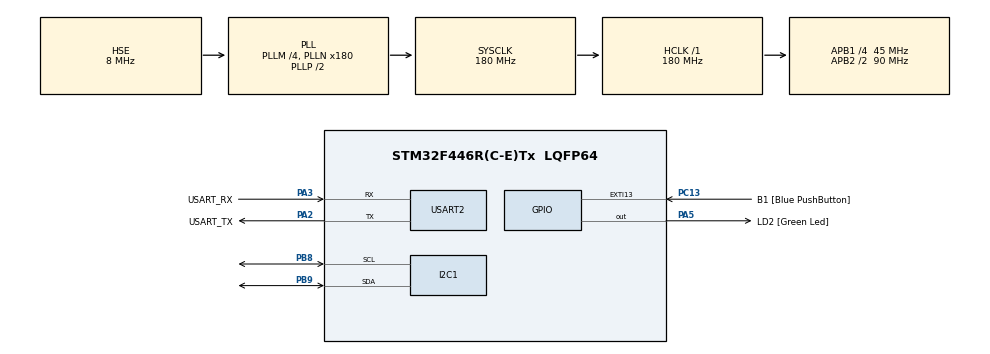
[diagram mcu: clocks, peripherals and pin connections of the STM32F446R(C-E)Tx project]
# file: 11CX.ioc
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Mcu.Family=STM32F4
Mcu.Name=STM32F446R(C-E)Tx
Mcu.Package=LQFP64
NVIC.PriorityGroup=NVIC_PRIORITYGROUP_0
NVIC.USART2_IRQn=true\:0\:0\:false\:false\:true\:true\:true\:true
PA13.GPIO_Label=TMS
PA13.Signal=SYS_JTMS-SWDIO
PA14.GPIO_Label=TCK
PA14.Signal=SYS_JTCK-SWCLK
PA2.GPIO_Label=USART_TX
PA2.Mode=Asynchronous
PA2.Signal=USART2_TX
PA3.GPIO_Label=USART_RX
PA3.Mode=Asynchronous
PA3.Signal=USART2_RX
PA5.GPIO_Label=LD2 [Green Led]
PA5.Signal=GPIO_Output
PB3.GPIO_Label=SWO
PB3.Signal=SYS_JTDO-SWO
PB8.Mode=I2C
PB8.Signal=I2C1_SCL
PB9.Mode=I2C
PB9.Signal=I2C1_SDA
PC13.GPIO_Label=B1 [Blue PushButton]
PC13.GPIO_ModeDefaultEXTI=GPIO_MODE_IT_FALLING
PC13.Signal=GPXTI13
PC14-OSC32_IN.Signal=RCC_OSC32_IN
PC15-OSC32_OUT.Signal=RCC_OSC32_OUT
PH0-OSC_IN.Mode=HSE-External-Clock-Source
PH0-OSC_IN.Signal=RCC_OSC_IN
PH1-OSC_OUT.Mode=HSE-External-Clock-Source
PH1-OSC_OUT.Signal=RCC_OSC_OUT
ProjectManager.HeapSize=0x200
ProjectManager.StackSize=0x400
ProjectManager.TargetToolchain=STM32CubeIDE
RCC.AHBFreq_Value=180000000
RCC.APB1CLKDivider=RCC_HCLK_DIV4
RCC.APB1Freq_Value=45000000
RCC.APB1TimFreq_Value=90000000
RCC.APB2CLKDivider=RCC_HCLK_DIV2
RCC.APB2Freq_Value=90000000
RCC.APB2TimFreq_Value=180000000
RCC.CortexFreq_Value=180000000
RCC.FLatency-AdvancedSettings=FLASH_LATENCY_5
RCC.HCLKFreq_Value=180000000
RCC.HSE_VALUE=8000000
RCC.HSI_VALUE=16000000
RCC.LSE_VALUE=32768
RCC.PLLM=4
RCC.PLLN=180
RCC.PLLSourceVirtual=RCC_PLLSOURCE_HSE
RCC.SYSCLKFreq_VALUE=180000000
RCC.SYSCLKSource=RCC_SYSCLKSOURCE_PLLCLK
RCC.USBFreq_Value=180000000
RCC.VCOOutputFreq_Value=360000000
USART2.VirtualMode=VM_ASYNC
board=NUCLEO-F446RE

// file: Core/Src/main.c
/* USER CODE BEGIN Header */
/**
  ******************************************************************************
  * @file           : main.c
  * @brief          : Main program body
  ******************************************************************************
  * @attention
  *
  * Copyright (c) 2025 STMicroelectronics.
  * All rights reserved.
  *
  * This software is licensed under terms that can be found in the LICENSE file
  * in the root directory of this software component.
  * If no LICENSE file comes with this software, it is provided AS-IS.
  *
  ******************************************************************************
  */
/* USER CODE END Header */
#include "main.h"

/* USER CODE BEGIN Includes */
#include <stdio.h>
#include <string.h>

/* USER CODE END Includes */

/* USER CODE BEGIN PD */

#define MPU6050_I2C_ADDRESS		0xD0

#define MPU6050_SMPLRT_DIV		0x19
#define MPU6050_ACCEL_CONFIG	0x1C
#define MPU6050_ACCEL_OUT		0x3B		/* 0x3B:0x3C=X, 0x3D:0x3E=Y, 0x3F:0x40=Z */
#define MPU6050_PWR_MGMT_1		0x6B

/* USER CODE END PD */

I2C_HandleTypeDef hi2c1;

UART_HandleTypeDef huart2;

/* USER CODE BEGIN PV */

int16_t  iAx, iAy, iAz;

float fAx, fAy, fAz;

/* USER CODE END PV */

void SystemClock_Config(void);
static void MX_GPIO_Init(void);
static void MX_I2C1_Init(void);
static void MX_USART2_UART_Init(void);
/* USER CODE BEGIN PFP */

void MPU6050Init(void);
void MPU6050ReadAccel(void);

/* USER CODE END PFP */

int main(void)
{

  /* MCU Configuration--------------------------------------------------------*/

  /* Reset of all peripherals, Initializes the Flash interface and the Systick. */
  HAL_Init();

  /* Configure the system clock */
  SystemClock_Config();

  /* Initialize all configured peripherals */
  MX_GPIO_Init();
  MX_I2C1_Init();
  MX_USART2_UART_Init();
  /* USER CODE BEGIN 2 */

  MPU6050Init();
  char chTxData[100];

  /* USER CODE END 2 */

  /* Infinite loop */
  /* USER CODE BEGIN WHILE */
  while (1)
  {

	  MPU6050ReadAccel();

	  fAx = (float)iAx;
	  fAx /= 16384;
	  fAy = (float)iAy;
	  fAy /= 16384;
	  fAz = (float)iAz;
	  fAz /= 16384;
	  //sprintf(chTxData,"Ax=%d, Ay=%d, Az=%d\r\n",iAx, iAy, iAz);
	  //sprintf(chTxData,"Ax=%0.2f, Ay=%0.2f, Az=%0.2f\r\n",fAx, fAy, fAz);
	  sprintf(chTxData,"%0.2f,%0.2f,%0.2f\r\n",fAx, fAy, fAz);
	  HAL_UART_Transmit(&huart2, (uint8_t*)chTxData, strlen(chTxData), HAL_MAX_DELAY);
	  HAL_Delay(2);

	  /* USER CODE END WHILE */

  }
}

void SystemClock_Config(void)
{
  RCC_OscInitTypeDef RCC_OscInitStruct = {0};
  RCC_ClkInitTypeDef RCC_ClkInitStruct = {0};

  /** Configure the main internal regulator output voltage
  */
  __HAL_RCC_PWR_CLK_ENABLE();
  __HAL_PWR_VOLTAGESCALING_CONFIG(PWR_REGULATOR_VOLTAGE_SCALE1);

  /** Initializes the RCC Oscillators according to the specified parameters
  * in the RCC_OscInitTypeDef structure.
  */
  RCC_OscInitStruct.OscillatorType = RCC_OSCILLATORTYPE_HSE;
  RCC_OscInitStruct.HSEState = RCC_HSE_BYPASS;
  RCC_OscInitStruct.PLL.PLLState = RCC_PLL_ON;
  RCC_OscInitStruct.PLL.PLLSource = RCC_PLLSOURCE_HSE;
  RCC_OscInitStruct.PLL.PLLM = 4;
  RCC_OscInitStruct.PLL.PLLN = 180;
  RCC_OscInitStruct.PLL.PLLP = RCC_PLLP_DIV2;
  RCC_OscInitStruct.PLL.PLLQ = 2;
  RCC_OscInitStruct.PLL.PLLR = 2;
  if (HAL_RCC_OscConfig(&RCC_OscInitStruct) != HAL_OK)
  {
    Error_Handler();
  }

  /** Activate the Over-Drive mode
  */
  if (HAL_PWREx_EnableOverDrive() != HAL_OK)
  {
    Error_Handler();
  }

  /** Initializes the CPU, AHB and APB buses clocks
  */
  RCC_ClkInitStruct.ClockType = RCC_CLOCKTYPE_HCLK|RCC_CLOCKTYPE_SYSCLK
                              |RCC_CLOCKTYPE_PCLK1|RCC_CLOCKTYPE_PCLK2;
  RCC_ClkInitStruct.SYSCLKSource = RCC_SYSCLKSOURCE_PLLCLK;
  RCC_ClkInitStruct.AHBCLKDivider = RCC_SYSCLK_DIV1;
  RCC_ClkInitStruct.APB1CLKDivider = RCC_HCLK_DIV4;
  RCC_ClkInitStruct.APB2CLKDivider = RCC_HCLK_DIV2;

  if (HAL_RCC_ClockConfig(&RCC_ClkInitStruct, FLASH_LATENCY_5) != HAL_OK)
  {
    Error_Handler();
  }
}

static void MX_I2C1_Init(void)
{

  hi2c1.Instance = I2C1;
  hi2c1.Init.ClockSpeed = 100000;
  hi2c1.Init.DutyCycle = I2C_DUTYCYCLE_2;
  hi2c1.Init.OwnAddress1 = 0;
  hi2c1.Init.AddressingMode = I2C_ADDRESSINGMODE_7BIT;
  hi2c1.Init.DualAddressMode = I2C_DUALADDRESS_DISABLE;
  hi2c1.Init.OwnAddress2 = 0;
  hi2c1.Init.GeneralCallMode = I2C_GENERALCALL_DISABLE;
  hi2c1.Init.NoStretchMode = I2C_NOSTRETCH_DISABLE;
  if (HAL_I2C_Init(&hi2c1) != HAL_OK)
  {
    Error_Handler();
  }

}

static void MX_USART2_UART_Init(void)
{

  huart2.Instance = USART2;
  huart2.Init.BaudRate = 115200;
  huart2.Init.WordLength = UART_WORDLENGTH_8B;
  huart2.Init.StopBits = UART_STOPBITS_1;
  huart2.Init.Parity = UART_PARITY_NONE;
  huart2.Init.Mode = UART_MODE_TX_RX;
  huart2.Init.HwFlowCtl = UART_HWCONTROL_NONE;
  huart2.Init.OverSampling = UART_OVERSAMPLING_16;
  if (HAL_UART_Init(&huart2) != HAL_OK)
  {
    Error_Handler();
  }

}

static void MX_GPIO_Init(void)
{
  GPIO_InitTypeDef GPIO_InitStruct = {0};

  /* GPIO Ports Clock Enable */
  __HAL_RCC_GPIOC_CLK_ENABLE();
  __HAL_RCC_GPIOH_CLK_ENABLE();
  __HAL_RCC_GPIOA_CLK_ENABLE();
  __HAL_RCC_GPIOB_CLK_ENABLE();

  /*Configure GPIO pin Output Level */
  HAL_GPIO_WritePin(LD2_GPIO_Port, LD2_Pin, GPIO_PIN_RESET);

  /*Configure GPIO pin : B1_Pin */
  GPIO_InitStruct.Pin = B1_Pin;
  GPIO_InitStruct.Mode = GPIO_MODE_IT_FALLING;
  GPIO_InitStruct.Pull = GPIO_NOPULL;
  HAL_GPIO_Init(B1_GPIO_Port, &GPIO_InitStruct);

  /*Configure GPIO pin : LD2_Pin */
  GPIO_InitStruct.Pin = LD2_Pin;
  GPIO_InitStruct.Mode = GPIO_MODE_OUTPUT_PP;
  GPIO_InitStruct.Pull = GPIO_NOPULL;
  GPIO_InitStruct.Speed = GPIO_SPEED_FREQ_LOW;
  HAL_GPIO_Init(LD2_GPIO_Port, &GPIO_InitStruct);

}

/* USER CODE BEGIN 4 */

//#define MPU6050_I2C_ADDRESS		0xD0
//
//#define MPU6050_SMPLRT_DIV		0x19
//#define MPU6050_ACCEL_CONFIG		0x1C
//#define MPU6050_ACCEL_OUT			0x3B		/* 0x3B:0x3C=X, 0x3D:0x3E=Y, 0x3F:0x40=Z */
//#define MPU6050_PWR_MGMT_1		0x6B

void MPU6050Init(void)
{
	uint8_t ui8Data;

	// Disable SLEEP
	ui8Data = 0;
	HAL_I2C_Mem_Write(&hi2c1, MPU6050_I2C_ADDRESS, MPU6050_PWR_MGMT_1, 1, &ui8Data, 1, 1000);

	// set the Sampling Rate (1KHZ)
	ui8Data = 7;
	HAL_I2C_Mem_Write(&hi2c1, MPU6050_I2C_ADDRESS, MPU6050_SMPLRT_DIV, 1, &ui8Data, 1, 1000);

	// set the Acceleration scale
	ui8Data = 0; // +/- 2g
	HAL_I2C_Mem_Write(&hi2c1, MPU6050_I2C_ADDRESS, MPU6050_ACCEL_CONFIG, 1, &ui8Data, 1, 1000);

	return;
}

void MPU6050ReadAccel(void)
{
	uint8_t ui8Data[6];

	// Read Acceleration
	HAL_I2C_Mem_Read(&hi2c1, MPU6050_I2C_ADDRESS, MPU6050_ACCEL_OUT, 1, ui8Data, 6, 1000);

	iAx = (int16_t)((ui8Data[0] << 8) | (ui8Data[1]));	//X
	iAy = (int16_t)((ui8Data[2] << 8) | (ui8Data[3]));	//Y
	iAz = (int16_t)((ui8Data[4] << 8) | (ui8Data[5]));	//Z

	return;
}

/* USER CODE END 4 */

void Error_Handler(void)
{
  __disable_irq();
  while (1)
  {
  }
}
